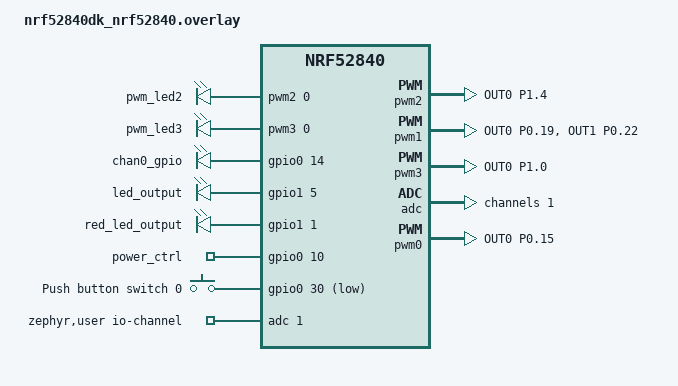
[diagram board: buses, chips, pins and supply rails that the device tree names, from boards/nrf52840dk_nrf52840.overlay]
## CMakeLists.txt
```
cmake_minimum_required(VERSION 3.20.0)
find_package(Zephyr REQUIRED HINTS $ENV{ZEPHYR_BASE})

project(mpu6050_ems)

FILE(GLOB app_sources 
    src/*.c
    src/utilities/*.c
    src/utilities/libpqueue/src/*.c
    src/utilities/circularbuffer/*.c
)

target_sources(app PRIVATE ${app_sources})
```

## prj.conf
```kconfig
# #Enabling bootloader
# CONFIG_BOOTLOADER_MCUBOOT=y

# CONFIG_MCUMGR=y
# CONFIG_MCUMGR_TRANSPORT_UART=y
# CONFIG_MCUMGR_GRP_IMG=y


CONFIG_LOG=n

CONFIG_NCS_SAMPLE_MCUMGR_BT_OTA_DFU=y

# Needed for math.h
CONFIG_NEWLIB_LIBC=y
CONFIG_CBPRINTF_FP_SUPPORT=y

# Enable GPIO/PWM
CONFIG_PWM=y
CONFIG_NRFX_TIMER1=y

# # Enable the Bluetooth mcumgr transport (unauthenticated).
# CONFIG_MCUMGR_TRANSPORT_BT=y
# CONFIG_MCUMGR_TRANSPORT_BT_AUTHEN=n
# CONFIG_MCUMGR_TRANSPORT_BT_CONN_PARAM_CONTROL=y

#Enable BLE
CONFIG_BT=y
CONFIG_BT_PERIPHERAL=y
CONFIG_BT_DEVICE_NAME="InnerGize Gen 1"
# Enable Security Management Protocol
CONFIG_BT_SMP=y

# STEP 1.1 Add setting configurations to allow flash handling
CONFIG_BT_SETTINGS=y
CONFIG_FLASH=y
CONFIG_FLASH_PAGE_LAYOUT=y
CONFIG_FLASH_MAP=y
CONFIG_NVS=y
CONFIG_SETTINGS=y
CONFIG_NRFX_TEMP=y

CONFIG_BT_DIS=y

CONFIG_LED=y
CONFIG_LED_PWM=y

# Enable the BMS service
CONFIG_BT_BMS=y

# STEP 3.1 Enable support for Accept List filter and Privacy Features
CONFIG_BT_FILTER_ACCEPT_LIST=y
CONFIG_BT_PRIVACY=y
CONFIG_BT_GAP_AUTO_UPDATE_CONN_PARAMS=y
CONFIG_BT_USER_PHY_UPDATE=y
CONFIG_BT_CTLR_PHY_CODED=y
CONFIG_BT_PHY_UPDATE=y
CONFIG_BT_CTLR_TX_PWR_PLUS_8=y

CONFIG_PM=y
CONFIG_PM_DEVICE=y
CONFIG_RAM_POWER_DOWN_LIBRARY=y
CONFIG_PM_DEVICE_RUNTIME=y


# STEP 4.1 Increase the number of maximum paired devices
CONFIG_BT_MAX_PAIRED=100

CONFIG_MULTITHREADING=y
#ADC 
CONFIG_ADC=y
CONFIG_NRFX_SAADC=y

# Allow for large Bluetooth data packets.
# CONFIG_BT_L2CAP_TX_MTU=498
# CONFIG_BT_BUF_ACL_RX_SIZE=502
# CONFIG_BT_BUF_ACL_TX_SIZE=502
# CONFIG_BT_CTLR_DATA_LENGTH_MAX=251
# Enable the mcumgr Packet Reassembly feature over Bluetooth and its configuration dependencies.
# MCUmgr buffer size is optimized to fit one SMP packet divided into five Bluetooth Write Commands,
# transmitted with the maximum possible MTU value: 498 bytes.
CONFIG_MCUMGR_TRANSPORT_BT_REASSEMBLY=y
CONFIG_MCUMGR_TRANSPORT_NETBUF_SIZE=2475
CONFIG_MCUMGR_GRP_OS_MCUMGR_PARAMS=y

CONFIG_NEWLIB_LIBC_MIN_REQUIRED_HEAP_SIZE=2048
```

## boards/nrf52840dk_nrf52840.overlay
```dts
/* STEP 1.2 -  Add a pwm_led instance and change the polarity */
/{
    pwmleds {
        compatible = "pwm-leds";
        pwm_led2: pwm_led_2 {
            pwms = <&pwm2 0 PWM_MSEC(20) PWM_POLARITY_NORMAL>;
        };

        pwm_led3: pwm_led_3 {
            pwms = <&pwm3 0 PWM_MSEC(20) PWM_POLARITY_NORMAL>;
        };
    };
};

/* STEP 1.3 - Add your own custom pwm0 instance */

&pwm2 {
    status = "okay";
    pinctrl-0 = <&pwm2_custom>;
    pinctrl-1 = <&pwm2_csleep>;
    pinctrl-names = "default", "sleep";
};

&pwm1 {
    status = "okay";
    pinctrl-0 = <&pwm3_custom>;
    pinctrl-1 = <&pwm3_csleep>;
    pinctrl-names = "default", "sleep";
};

&pwm3 {
    status = "okay";
    pinctrl-0 = <&pwm3_custom>;
    pinctrl-1 = <&pwm3_csleep>;
    pinctrl-names = "default", "sleep";
};
/* STEP 1.4 - Configure which pins your custom pwm0 instance should use */
&pinctrl {
    pwm2_custom: pwm2_custom {
        group1 {
            psels = <NRF_PSEL(PWM_OUT0, 1, 4)>;
            nordic,invert;
        };
    };

    pwm2_csleep: pwm2_csleep {
        group1 {
            psels = <NRF_PSEL(PWM_OUT0, 1, 4)>;
            low-power-enable;
        };
    };


    pwm3_custom: pwm3_custom {
        group1 {
            psels = <NRF_PSEL(PWM_OUT0, 1, 0)>;
            nordic,invert;
        };
    };

    pwm3_csleep: pwm3_csleep {
        group1 {
            psels = <NRF_PSEL(PWM_OUT0, 1, 0)>;
            low-power-enable;
        };
    };


};

/* STEP 5.2 - Add the servo device  */

/{
    gpio_outputs{
        compatible = "gpio-leds";
        // Channel 0 GPIO pin
        chan0_gpio: chan0_gpio{
            gpios = < &gpio0 14 GPIO_ACTIVE_HIGH >;
        };
        led_output: led_output{
            gpios = <&gpio1 5 GPIO_PULL_DOWN>;
        };
        red_led_output: red_led_output{
            gpios = <&gpio1 1 GPIO_PULL_DOWN>;
        };
        power_ctrl: power_ctrl{
            gpios = < &gpio0 10 GPIO_ACTIVE_HIGH >;
        };
    };

    buttons{
        compatible = "gpio-keys";
        button0: button_0 {
			gpios = <&gpio0 30 (GPIO_PULL_UP | GPIO_ACTIVE_LOW)>;
			label = "Push button switch 0";
		};
    };

	zephyr,user {
		io-channels = <&adc 1>; // Channel 0
        
        
	};

    aliases{
        ems-chan0-gpio = &chan0_gpio;
        led-out = &led_output;
        red-led = &red_led_output;
        sw0 = &button0;
        pwm-led2 = &pwm_led2;
		pwm-led3 = &pwm_led3;
    };
};




&adc {
	status = "okay";

	#address-cells = <1>;
	#size-cells = <0>;

	channel@1{
		reg = < 1 >;
		zephyr,reference = "ADC_REF_INTERNAL";
		zephyr,gain = "ADC_GAIN_1_4";// Internal ref is 0.6, gain of 1/6 means max voltage to be measured at AIN pin is 3.6V
		zephyr,acquisition-time = <ADC_ACQ_TIME(ADC_ACQ_TIME_MICROSECONDS,40)>;
		zephyr,input-positive = < NRF_SAADC_AIN1 >; // Adjust to correct pin
		zephyr,resolution = < 12 >; // 10 Bit resolution
	};

};

// Disable to avoid pin conflicts
&qspi {
    status = "disabled";
};

&spi3 {
    status = "disabled";
};

&spi1 {
    status = "disabled";
};


// Disable to avoid pin conflicts
&uart0 {
    status = "disabled";
};


&pwm0 {
    status = "okay";    
    pinctrl-0 = <&ems_chan1_pins>;
    pinctrl-1 = <&ems_chan1_pins_lp>;
    pinctrl-names = "default", "sleep";
};

&pwm1 {
    status = "okay";    
    pinctrl-0 = <&ems_chan23_pins>;
    pinctrl-1 = <&ems_chan23_pins_lp>;
    pinctrl-names = "default", "sleep";
};

// Pin definitions for PWM controller and I2C
&pinctrl {
    // PWM pins defined for compatibility purposes, update pin definitions in ems_pwm.c
    ems_chan1_pins: ems_pins{
        group1{
            psels = <NRF_PSEL(PWM_OUT0, 0, 15)>;
        };
    };

    ems_chan1_pins_lp: ems_pins_lp{
        group1{
            psels = <NRF_PSEL(PWM_OUT0, 0, 15)>;
        };
        low-power-enable;
    };

    ems_chan23_pins: ems_23_pins{
        group1{
            psels = <NRF_PSEL(PWM_OUT0, 0, 19)>, <NRF_PSEL(PWM_OUT1, 0, 22)>;
        };
    };

    ems_chan23_pins_lp: ems_23_pins_lp{
        group1{
            psels = <NRF_PSEL(PWM_OUT0, 0, 19)>, <NRF_PSEL(PWM_OUT1, 0, 22)>;
        };
        low-power-enable;
    };

	
};
```

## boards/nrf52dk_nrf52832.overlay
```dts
/{
    gpio_outputs{
        compatible = "gpio-leds";
        // Channel 0 GPIO pin
        chan0_gpio: chan0_gpio{
            gpios = < &gpio0 4 GPIO_ACTIVE_HIGH >;
        };
        led_output: led_output{
            gpios = < &gpio0 18 GPIO_ACTIVE_HIGH >;
        };
        power_ctrl: power_ctrl{
            gpios = < &gpio0 17 GPIO_ACTIVE_HIGH >;
        };
    };

    buttons{
        compatible = "gpio-keys";
        on_button: on_button{
            gpios = < &gpio0 14 (GPIO_ACTIVE_LOW | GPIO_PULL_UP | GPIO_OPEN_DRAIN) >;
        };
    };

	zephyr,user {
		io-channels = <&adc 0>; // Channel 0	
	};

    aliases{
        ems-chan0-gpio = &chan0_gpio;
        accel-sensor = &mpu6050;
        power-ctrl = &power_ctrl;
        led-out = &led_output;
        on-button = &on_button;
    };
};

&i2c0 {
    status = "okay";
    pinctrl-0 = < &mpu6050_default >;
    pinctrl-1 = < &mpu6050_sleep >;

    mpu6050:mpu6050@68 {
        compatible = "invensense,mpu6050";
        status = "okay";
        reg = < 0x68 >;
        int-gpios = < &gpio0 19 GPIO_ACTIVE_LOW >;
    };
};

&adc {
	status = "okay";

	#address-cells = <1>;
	#size-cells = <0>;

	channel@1{
		reg = < 1 >;
		zephyr,reference = "ADC_REF_INTERNAL";
		zephyr,gain = "ADC_GAIN_1_6";// Internal ref is 0.6, gain of 1/6 means max voltage to be measured at AIN pin is 3.6V
		zephyr,acquisition-time = < ADC_ACQ_TIME(ADC_ACQ_TIME_MICROSECONDS, 10) >;
		zephyr,input-positive = < NRF_SAADC_AIN0 >; // Adjust to correct pin
		zephyr,resolution = < 10 >; // 10 Bit resolution
	};
};

&spi1 {
    status = "disabled";
};


// Disable to avoid pin conflicts
&uart0 {
    status = "disabled";
};


&pwm0 {
    status = "okay";    
    pinctrl-0 = <&ems_chan1_pins>;
    pinctrl-1 = <&ems_chan1_pins_lp>;
    pinctrl-names = "default", "sleep";
};

&pwm1 {
    status = "okay";    
    pinctrl-0 = <&ems_chan23_pins>;
    pinctrl-1 = <&ems_chan23_pins_lp>;
    pinctrl-names = "default", "sleep";
};

// Pin definitions for PWM controller and I2C
&pinctrl {
    // PWM pins defined for compatibility purposes, update pin definitions in ems_pwm.c
    ems_chan1_pins: ems_pins{
        group1{
            psels = <NRF_PSEL(PWM_OUT0, 0, 5)>;
        };
    };

    ems_chan1_pins_lp: ems_pins_lp{
        group1{
            psels = <NRF_PSEL(PWM_OUT0, 0, 5)>;
        };
        low-power-enable;
    };

    ems_chan23_pins: ems_23_pins{
        group1{
            psels = <NRF_PSEL(PWM_OUT0, 0, 6)>, <NRF_PSEL(PWM_OUT1, 0, 7)>;
        };
    };

    ems_chan23_pins_lp: ems_23_pins_lp{
        group1{
            psels = <NRF_PSEL(PWM_OUT0, 0, 6)>, <NRF_PSEL(PWM_OUT1, 0, 7)>;
        };
        low-power-enable;
    };

	mpu6050_default: mpu6050_default {
		group1 {
			psels = <NRF_PSEL(TWIM_SDA, 0, 20)>,
				<NRF_PSEL(TWIM_SCL, 0, 21)>;
		};
	};

	mpu6050_sleep: mpu6050_sleep {
		group1 {
			psels = <NRF_PSEL(TWIM_SDA, 0, 20)>,
				<NRF_PSEL(TWIM_SCL, 0, 21)>;
			low-power-enable;
		};
	};
};
```

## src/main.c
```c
#include <zephyr/kernel.h>
#include <zephyr/logging/log.h>
#include <zephyr/drivers/gpio.h>
#include <zephyr/drivers/pwm.h>
#include <hal/nrf_gpio.h>
#include <zephyr/drivers/adc.h>
#include <zephyr/pm/pm.h>

#include "main.h"
#include "ems_pwm.h"
#include "app_io.h"

LOG_MODULE_REGISTER(MAIN, LOG_LEVEL_DBG);

#define BLE_CONNECTION_STATE_NO_CONNECTION   -1
#define BLE_CONNECTION_STATE_DISCONNECTED     0
#define BLE_CONNECTION_STATE_CONNECTED        1
#define NUM_STEPS                             50U
#define SLEEP_MSEC                            25U
#define SLEEP_TIME_MS                         1000
#define ADC_CHANNEL_1                         1
#define LED_OUT_NODE1                         DT_ALIAS(led_out)
#define GPIO_PIN                              NRF_GPIO_PIN_MAP(0, 5)
#define GPIO_PIN1                             NRF_GPIO_PIN_MAP(0, 25)
#define DEFAULT_SESSION_TIME_SECONDS          1200

#if !DT_NODE_EXISTS(DT_PATH(zephyr_user)) || \
    !DT_NODE_HAS_PROP(DT_PATH(zephyr_user), io_channels)
#error "No suitable devicetree overlay specified"
#endif

#define DT_SPEC_AND_COMMA(node_id, prop, idx) \
    ADC_DT_SPEC_GET_BY_IDX(node_id, idx),

// Get the ADC channels from the devicetree
const struct adc_dt_spec adc_channels[] = {
    DT_FOREACH_PROP_ELEM(DT_PATH(zephyr_user), io_channels,
    DT_SPEC_AND_COMMA)
};

static void session_timer_exp_cb(struct k_timer *timer);

static void adjust_pwm_timer_exp_cb(struct k_timer *timer);

uint32_t standby_counter;
volatile bool ems_session_running = false;
bool in_standby = false;
static int increment;

int8_t ble_connection_state = BLE_CONNECTION_STATE_NO_CONNECTION;

extern struct k_msgq ble_msgq;

struct main_msg_data data;

struct ble_msg *temp_msg = &data.data.ble;

K_MSGQ_DEFINE(main_msgq, sizeof(struct main_msg_data), 5, 4);

K_TIMER_DEFINE(session_timer, session_timer_exp_cb, NULL); // Timer for the session timer callback
K_TIMER_DEFINE(adjust_pwm_timer, adjust_pwm_timer_exp_cb, NULL);

struct gpio_dt_spec led_spec1 = GPIO_DT_SPEC_GET(LED_OUT_NODE1, gpios);

// Struct for storing the EMS parameters like on-time, off-time, duty cycle, etc.
struct ems_def current_ems = {
    .status = {
        .control = 0,
        .session = {0},
    },
    .channels = {
        .chan0 = {.on_time = 450, .off_time = 1910},
        .chan1 = {.on_time = (6.25 * NSEC_PER_USEC), .interval = (50 * USEC_PER_MSEC)},
        .chan2 = {.duty_cycle = 50},
        .chan3 = {.duty_cycle = 50}
    }
};

// Function to update the BLE message queue
static void update_ble(struct ble_msg *msg) {
    k_msgq_put(&ble_msgq, msg, K_NO_WAIT);
}

// Function to update the EMS parameters
static void update_ems_params(const struct pwm_channel_data *pwm_data) {
    ems_pwm_update_params(0, pwm_data->chan0.on_time * NSEC_PER_MSEC, pwm_data->chan0.off_time * NSEC_PER_MSEC, 0);
    memcpy(&current_ems.channels.chan0, &pwm_data->chan0, sizeof(current_ems.channels.chan0));

    ems_pwm_update_params(1, pwm_data->chan1.on_time, 0, pwm_data->chan1.interval * NSEC_PER_USEC);
    memcpy(&current_ems.channels.chan1, &pwm_data->chan1, sizeof(current_ems.channels.chan1));

    ems_pwm_update_params(2, pwm_data->chan2.duty_cycle, 0, 0);
    memcpy(&current_ems.channels.chan2, &pwm_data->chan2, sizeof(current_ems.channels.chan2));

    ems_pwm_update_params(2, pwm_data->chan3.duty_cycle, 0, 0);
    memcpy(&current_ems.channels.chan3, &pwm_data->chan3, sizeof(current_ems.channels.chan3));
}
// Timer function to turn off the EMS after the user-specified time
static void session_timer_exp_cb(struct k_timer *timer) {
    struct ble_msg control_session_msg = {0};
    if (disconnect_reason == 19) { // If user disconnected the device manually, then stop the EMS
        current_ems.status.session.current_session_len = 0;
        current_ems.status.control = 0;
        LOG_INF("EMS disabled");
        ems_pwm_toggle(0);
        ems_session_running = false;
        LOG_DBG("Function called to stop EMS");
        disconnect_reason = 0;
    }

    if (current_ems.status.control == 1) {
        current_ems.status.session.current_session_len++;
        LOG_DBG("EMS session %u, target %u", current_ems.status.session.current_session_len, current_ems.status.session.target_session_len);

        // If the session length is greater than the target session length, then turn off the EMS
        if ((current_ems.status.session.target_session_len > 0) &&
            (current_ems.status.session.current_session_len > current_ems.status.session.target_session_len)) {
            current_ems.status.control = 0;
            LOG_DBG("End EMS Session");
            stop_green_led_thread();
            start_green_led_thread(1000000);
            ems_session_running = false;
            ems_pwm_toggle(0);
        }
    }

    control_session_msg.id = BLE_MSG_ID_EMS_CONTROL;
    memcpy(&control_session_msg.data.ems, &current_ems, sizeof(current_ems)); // Copy the EMS parameters to the BLE message
    update_ble(&control_session_msg); // Update the BLE message queue

    //IF THE DEVICE IS NOT CONNECTED THEN INCREMENT THE STANDBY COUNTER
    if(ble_connection_state != BLE_CONNECTION_STATE_CONNECTED){
        standby_counter++;
            //LOG_INF("STANDBY %u", standby_counter);
    }
    //PUTS DEVICE TO SLEEP IF NO DEVICE CONNECTED FOR 5 MINUTES
     if(ble_connection_state != BLE_CONNECTION_STATE_CONNECTED && standby_counter > 300 && ems_session_running == false ){
    
            LOG_INF("Enter standby mode");
            nrf_gpio_pin_clear(GPIO_PIN);
            nrf_gpio_pin_clear(GPIO_PIN1);
    
    }
}


static int on_time_func() {
    if (temp_msg->data.ems.status.ontime - ems_intensity_data.PWM_ON_TIME <= 10) {
        return 1;
    } else if (temp_msg->data.ems.status.ontime - ems_intensity_data.PWM_ON_TIME > 10 && temp_msg->data.ems.status.ontime - ems_intensity_data.PWM_ON_TIME <= 25) {
        return 3;
    } else if (temp_msg->data.ems.status.ontime - ems_intensity_data.PWM_ON_TIME > 25) {
        return 5;
    }
}
// Function to gradually change the PWM_ON_TIME
static void adjust_pwm_on_time() {
    LOG_INF("BLE stack value %u", temp_msg->data.ems.status.ontime);
    LOG_INF("on time stack value %u", ems_intensity_data.PWM_ON_TIME);
    if (increment == 0) {
        increment = on_time_func();
    }
    ems_intensity_data.PWM_ON_TIME += increment;

    if (ems_intensity_data.PWM_ON_TIME >= temp_msg->data.ems.status.ontime) {
        increment = 0;
        k_timer_stop(&adjust_pwm_timer);
        ems_intensity_data.PWM_ON_TIME = temp_msg->data.ems.status.ontime;
    }

    if (ems_intensity_data.PWM_ON_TIME > 100) {
        ems_intensity_data.PWM_ON_TIME = 100; // Cap the PWM_ON_TIME at 100
    }
    // Update the PWM on-time for channel 1
    ems_pwm_update_params(1, PWM_USEC(ems_intensity_data.PWM_ON_TIME), 0, current_ems.channels.chan1.interval * NSEC_PER_USEC);
}

// Timer function to adjust PWM_ON_TIME every 20 seconds
static void adjust_pwm_timer_exp_cb(struct k_timer *timer) {
    adjust_pwm_on_time();
}

// Function to turn EMS on and off
static void ems_control_cmd_handle(uint8_t control) {
    if (control) {
        // Enable EMS
        initial_value = batt_val_mv;
        current_ems.status.session.current_session_len = 0;
        current_ems.status.control = 1;
        ems_pwm_toggle(1);
        stop_green_led_thread();
        start_green_led_thread(10000);
        LOG_INF("EMS enabled");
        current_ems.status.session.target_session_len = DEFAULT_SESSION_TIME_SECONDS; // Turn off EMS automatically after 20 minutes
        ems_session_running = true;
    } 
    else {
        current_ems.status.session.current_session_len = 0;
        current_ems.status.control = 0;
        LOG_INF("EMS disabled");
        ems_pwm_toggle(0);
        stop_green_led_thread();
        start_green_led_thread(1000000);
        ems_session_running = false;
    }
}

// Function to update the EMS parameters included in the EMS service 
static void ems_chan_cmd_handle(uint8_t channel, struct pwm_channel_data *chan_data) {
    switch (channel) {
        case BLE_MSG_ID_EMS_CHAN1_CONTROL: {
            ems_pwm_update_params(0, chan_data->chan0.on_time * NSEC_PER_MSEC, chan_data->chan0.off_time * NSEC_PER_MSEC, 0);
            memcpy(&current_ems.channels.chan0, &chan_data->chan0, sizeof(current_ems.channels.chan0));
            LOG_DBG("Chan0 update on_time: %u, off_time: %u", current_ems.channels.chan0.on_time, current_ems.channels.chan0.off_time);
            break;
        }
        case BLE_MSG_ID_EMS_CHAN2_CONTROL: {
            ems_pwm_update_params(1, chan_data->chan1.on_time, 0, chan_data->chan1.interval * NSEC_PER_USEC);
            memcpy(&current_ems.channels.chan1, &chan_data->chan1, sizeof(current_ems.channels.chan1));
            LOG_DBG("Chan1 update on_time: %u, interval: %u", current_ems.channels.chan1.on_time, current_ems.channels.chan1.interval);
            break;
        }
        case BLE_MSG_ID_EMS_CHAN3_CONTROL: {
            ems_pwm_update_params(2, chan_data->chan2.duty_cycle, 0, 0);
            memcpy(&current_ems.channels.chan2, &chan_data->chan2, sizeof(current_ems.channels.chan2));
            LOG_DBG("Chan2 update duty_cycle: %d", current_ems.channels.chan2.duty_cycle);
            break;
        }
        case BLE_MSG_ID_EMS_CHAN4_CONTROL: {
            ems_pwm_update_params(3, chan_data->chan3.duty_cycle, 0, 0);
            memcpy(&current_ems.channels.chan3, &chan_data->chan3, sizeof(current_ems.channels.chan3));
            LOG_DBG("Chan3 update duty_cycle: %d", current_ems.channels.chan3.duty_cycle);
            break;
        }
        default: {
            break;
        }
    }
}

int main(void) {
    nrf_gpio_cfg_output(GPIO_PIN);
    nrf_gpio_cfg_output(GPIO_PIN1);

    nrf_gpio_pin_set(GPIO_PIN);
    nrf_gpio_pin_set(GPIO_PIN1);

    //LOG_INF("VALUE OF TEMP SENSOR %f",read_cpu_temp_sensor());
    ems_pwm_init(); // Initializes the PWM

    k_timer_start(&session_timer, K_SECONDS(1), K_SECONDS(1)); // Starts the timer

    while (1) {
        
        k_msgq_get(&main_msgq, &data, K_FOREVER);

        // If the data source is BLE, then handle the BLE messages
        if (data.src == MAIN_MSG_DATA_SRC_BLE) {
            // Switch case to handle the BLE messages
            switch (temp_msg->id) {
                case BLE_MSG_ID_EMS_CONTROL: {
                    if(temp_msg->data.ems.status.control == 1){
                        RelaxMode();
                    }
                    else if(temp_msg->data.ems.status.control == 2){
                        SleepMode();
                    }
                    else if(temp_msg->data.ems.status.control == 3){
                        BreathMode();
                    }
                    ems_control_cmd_handle(temp_msg->data.ems.status.control);
                    LOG_INF("EMS control CALLED");
                    break;
                }
                case BLE_MSG_ID_EMS_SESSION: {
                    current_ems.status.session.current_session_len = 0;
                    current_ems.status.session.target_session_len = temp_msg->data.ems.status.session.target_session_len; // uint32 big endian
                    break;
                }
                case BLE_MSG_ID_PWM_PERIOD: {
                    ems_intensity_data.PWM_PERIOD = temp_msg->data.ems.status.period;
                    break;
                }
                case BLE_MSG_ID_PWM_ONTIME: {
                    // Start the timer to adjust PWM_ON_TIME every 20 seconds
                    k_timer_start(&adjust_pwm_timer, K_SECONDS(2), K_SECONDS(2));
                    break;
                }
                case BLE_MSG_ID_PWM_INTERVAL: {
                    ems_intensity_data.PWM_INTERVAL = temp_msg->data.ems.status.interval;
                    break;
                }
                case BLE_MSG_ID_PWM_DURATION: {
                    ems_intensity_data.PWM_DURATION = temp_msg->data.ems.status.duration;
                    break;
                }
                case BLE_MSG_ID_CHAN0_PLAYBACK_COUNT: {
                    ems_intensity_data.CHAN0_PLAYBACK = temp_msg->data.ems.status.chan0playback;


                    break;
                }
                case BLE_MSG_ID_CHAN0_INUCT_DURATION: {
                    ems_intensity_data.CHAN0_INDUCTOR = temp_msg->data.ems.status.chan0inductor;

                    break;
                }
                 case BLE_MSG_ID_CHAN0_ON_DURATION: {
                    ems_intensity_data.CHAN0_DURATION = temp_msg->data.ems.status.chan0ontime;
                  chan0_para_update();

                    break;
                }
                case BLE_MSG_ID_CHAN0_DURATION: {
                    ems_intensity_data.CHAN0_ON_DURATION = temp_msg->data.ems.status.chan0time;
                    chan0_para_update();
                    break;
                }
                case BLE_MSG_ID_CHAN23_PWM_PERIOD_NS: {
                    ems_intensity_data.PWM23_DURATION = 25*(temp_msg->data.ems.status.pwm23time);
                    //CHAN23_PWM_DEFAULT_PERIOD_NS = temp_msg->data.ems.status.pwm23time;
                    LOG_INF("VALUE OF CHAN 23 IN BLE STACK  %u", temp_msg->data.ems.status.pwm23time );
                    LOG_INF("VALUE OF CHAN 23 %u", ems_intensity_data.PWM23_DURATION );
                    //chan23reset();

                    break;
                }
                case BLE_MSG_ID_CHAN23_PWM_ON_TIME_NS: {
                    ems_intensity_data.PWM23_ON_DURATION = 25*(temp_msg->data.ems.status.pwm23ontime);
                    //CHAN23_PWM_DEFAULT_ON_TIME_NS= temp_msg->data.ems.status.pwm23ontime;
                    LOG_INF("VALUE OF CHAN 23ONM in ble stack %u", temp_msg->data.ems.status.pwm23ontime);
                    LOG_INF("VALUE OF CHAN 23ON %u", ems_intensity_data.PWM23_ON_DURATION );
                    chan23reset();
                    break;
                }
                case BLE_MSG_ID_CHARGER_ON_OFF: {
                    if(temp_msg->data.ems.status.chargeronoff == 5)
                    {
                         nrf_gpio_pin_clear(GPIO_PIN);
                         nrf_gpio_pin_clear(GPIO_PIN1);
                    }
                    break;
                }
                case BLE_MSG_ID_EMS_CHAN1_CONTROL:
                case BLE_MSG_ID_EMS_CHAN2_CONTROL:
                case BLE_MSG_ID_EMS_CHAN3_CONTROL:
                case BLE_MSG_ID_EMS_CHAN4_CONTROL: {
                    ems_chan_cmd_handle(temp_msg->id, &temp_msg->data.ems.channels);
                    break;
                }
                case BLE_MSG_ID_CONNECTED: {
                    ble_connection_state = BLE_CONNECTION_STATE_CONNECTED;
                    standby_counter = 0;
                    break;
                }
                case BLE_MSG_ID_DISCONNECTED: {
                    ble_connection_state = BLE_CONNECTION_STATE_DISCONNECTED;
                    standby_counter = 0;
                    LOG_DBG("BLE disconnected");
                    k_timer_stop(&adjust_pwm_timer);
                    break;
                }
                default: {
                    break;
                }
            }
        }
    }
    return 0;
}
```

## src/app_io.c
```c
#include "app_io.h"
#include "ble.h"
#include "main.h"
#include "ems_pwm.h"

#include <zephyr/drivers/pwm.h>
#include <zephyr/kernel.h>
#include <zephyr/drivers/gpio.h>
#include <zephyr/drivers/adc.h>
#include <zephyr/logging/log.h>
#include <zephyr/sys/reboot.h>
#include <hal/nrf_gpio.h>
#include <zephyr/pm/device.h>
#include <zephyr/pm/pm.h>
#include <zephyr/pm/policy.h>
#include <zephyr/pm/device_runtime.h>
#include <zephyr/bluetooth/bluetooth.h>
#include <zephyr/bluetooth/gatt.h>
#include <zephyr/bluetooth/uuid.h>
#include <zephyr/bluetooth/conn.h>
#include <zephyr/bluetooth/gap.h>
#include <zephyr/bluetooth/hci.h>

LOG_MODULE_REGISTER(APP_IO, LOG_LEVEL_DBG);

#define LED_OUT_NODE                    DT_ALIAS(led_out)        // LED node
#define SW0_NODE	                    DT_ALIAS(sw0)           // Button node
#define RED_LED_OUT_NODE                DT_ALIAS(red_led)        // red LED node

#define GPIO_PIN                        NRF_GPIO_PIN_MAP(0, 5)
#define GPIO_PIN1                       NRF_GPIO_PIN_MAP(0, 25)

#define STACK_SIZE                            512
#define MY_STACK_SIZE                         500
#define THREAD_PRIORITY                       4

#define PWM_LED0        DT_ALIAS(pwm_led2)
#define PWM_LED1        DT_ALIAS(pwm_led3)

#define PWM_PERIOD   PWM_MSEC(60)

#define PWM_MIN_DUTY_CYCLE 20000000
#define PWM_MAX_DUTY_CYCLE 50000000

#define ADC_THRESHOLD                   70  // Threshold for waking up based on ADC value difference
#define ARRAY_SIZE                      10   // Size of the ADC value array

#define SLEEP_DURATION_MS               5000 // Duration of sleep in milliseconds

#define TIME_WINDOW_MS     10000  // 10-second time window

#if !DT_NODE_HAS_STATUS(SW0_NODE, okay)
#error "Unsupported board: sw0 devicetree alias is not defined"
#endif

// ADC spec macro
#define DT_SPEC_AND_COMMA(node_id, prop, idx) \
	ADC_DT_SPEC_GET_BY_IDX(node_id, idx),

static const struct pwm_dt_spec pwm_led0 = PWM_DT_SPEC_GET(PWM_LED0);
static const struct pwm_dt_spec pwm_led1 = PWM_DT_SPEC_GET(PWM_LED1);

struct gpio_dt_spec red_led_spec = GPIO_DT_SPEC_GET(RED_LED_OUT_NODE, gpios); // Red LED spec

extern struct k_msgq ble_msgq;  // BLE message queue

// Define the thread stack
K_THREAD_STACK_DEFINE(dyn_thread_stack_1, MY_STACK_SIZE);
// Define the thread control block
struct k_thread my_thread_data_1;

/* Define the timer object */
static struct k_timer my_timer;

static struct gpio_callback button_cb_data;

static const struct gpio_dt_spec button = GPIO_DT_SPEC_GET_OR(SW0_NODE, gpios, {0}); // Button spec

// ADC channels
static const struct adc_dt_spec adc_channels[] = {
	DT_FOREACH_PROP_ELEM(DT_PATH(zephyr_user), io_channels, DT_SPEC_AND_COMMA)
};

// Thread definitions
#define LED_BLINK_THREAD_STACK_SIZE 1024
#define LED_BLINK_THREAD_PRIORITY 5

K_THREAD_STACK_DEFINE(blue_led_stack_area, LED_BLINK_THREAD_STACK_SIZE);
K_THREAD_STACK_DEFINE(green_led_stack_area, LED_BLINK_THREAD_STACK_SIZE);

struct k_thread blue_led_thread_data;
struct k_thread green_led_thread_data;

// Shared data for controlling threads
static uint32_t pwm_period_blue = 1000000; // Default period for blue LED
static uint32_t pwm_period_green = 1000000;   // Default period for green LED

static bool blue_led_thread_running = false;
static bool green_led_thread_running = false;

// Mutexes to protect access to shared variables
static struct k_mutex blue_period_mutex;
static struct k_mutex green_period_mutex;

#define MIN_DUTY_CYCLE 0
#define MAX_DUTY_CYCLE 10000 // Maximum duty cycle in nanoseconds, adjust as needed
#define STEP_SIZE 100 // Step size for duty cycle increment/decrement, adjust for smoothness
#define STEP_DELAY_MS 10 // Delay between steps in milliseconds, adjust for speed of breathing effect
#define SOLID_BRIGHT_PERIOD 10000 // Set period for solid bright     // Maximum duty cycle for full brightness
#define ZERO_DUTY_CYCLE 0           // Duty cycle for turning off the LED

// Function prototypes
void start_blue_led_thread(uint32_t period);
void stop_blue_led_thread(void);
void start_green_led_thread(uint32_t period);
void stop_green_led_thread(void);

uint32_t btn_hold_counter = 0;
uint32_t ems_on = 0;
uint16_t raw_batt_val = 0;
int32_t batt_val_mv = 0;
int32_t initial_value = 0;
int32_t current_value = 0;
int32_t final_value = 0;
int charging_threshold;  // Charging threshold will be dynamically set
uint8_t charger_state = 0;   // Initialize the charger state
uint8_t battery_low = 0; 
uint16_t buf;
k_tid_t my_tid;
uint8_t sleep_flag =0;
static int64_t start_time;
const k_tid_t red_led_thread; // LED thread

static int charge_count=0;
static int charge_count1=0;
static int charge=0;
static int discharge=0;

// ADC value array for storing readings
int adc_values_array[ARRAY_SIZE] = {0};
int adc_array_index = 0; // Index to keep track of the array position

volatile bool in_critical_section = false;

const k_tid_t led_thread; // LED thread

extern bool in_standby;

K_SEM_DEFINE(button_sem, 0, 1);

// Battery ADC sequence
struct adc_sequence batt_read_sequence = {
    .buffer = &raw_batt_val,
    .buffer_size = sizeof(raw_batt_val)
};

/* Callback function for the timer */
void timer_expiry_function(struct k_timer *timer_id)
{
    /* Optional: If you want to restart the process for another 30 seconds, restart the timer */
    k_timer_start(&my_timer, K_SECONDS(30), K_NO_WAIT);
}

// Button pressed callback function
void button_pressed(const struct device *dev, struct gpio_callback *cb, uint32_t pins) {

    k_sem_give(&button_sem);

	LOG_DBG("Button pressed at %" PRIu32 "\n", k_cycle_get_32());
}

// Battery read initialization function
static int batt_read_init() {
    int ret = 0;

    if (!device_is_ready(adc_channels[0].dev)) {
        return -ENODEV;
    }

    ret = adc_channel_setup_dt(&adc_channels[0]);
    if (ret) {
        return ret;
    }
      // Initialize ADC sequence
    ret = adc_sequence_init_dt(&adc_channels[0], &batt_read_sequence);
    if (ret) {
          return;
    }

    return 0;
}

static void battery_update()
{
    int ret = 0;

    // Read ADC value
    ret = adc_read(adc_channels[0].dev, &batt_read_sequence);
    if (ret) {
        return;
    }

    batt_val_mv = (int32_t)raw_batt_val;
    ret = adc_raw_to_millivolts_dt(&adc_channels[0], &batt_val_mv);
    if (ret) {
        return;
    }

    /* Read the current battery value */
    current_value = batt_val_mv;
    //LOG_INF("BATTURY VALUE %u",current_value);

    // Set charging thresholds based on batt_val_mv
   
        if (batt_val_mv >= 2000) {
            charging_threshold = 8;
        } else if (batt_val_mv >= 1500 && batt_val_mv < 2000) {
            charging_threshold = 10;
        } else {
            charging_threshold = 12;
        } 

        if(is_pwm_modes_enabled == false)
        {

            if(battery_update_ready)
            {
                k_sleep(K_MSEC(2000)); // Check battery every 2 seconds
                battery_update_ready = false;
            }


        if((final_value - current_value >= 8) && (discharge ==1)){

            charge_count = 0;
            charge_count1 = charge_count1 + 100;

    
            if(charge_count1 > 400)
            {
               // LOG_INF("Button held for more than 9 seconds, rebooting");
    
                // nrf_gpio_pin_clear(GPIO_PIN);
                // nrf_gpio_pin_clear(GPIO_PIN1);
                //gpio_pin_set_raw(red_led_spec.port, red_led_spec.pin, 1);
                charger_state = 0;
                discharge=0;
                
            }
            //charger_state = 0;
            //initial_value = current_value;

        } 
        else if (current_value - initial_value >= charging_threshold) {
            //printk("Value changed from %d to %d with batt_val_mv: %d\n", initial_value, current_value, batt_val_mv);
             // Set charger state to 1
            charge_count1 = 0;
            sleep_flag = 1;
            charge_count = charge_count + 100;

            if(charge_count > 400)

            {
               // LOG_INF("Button held for more than 9 seconds, rebooting");
    
                // nrf_gpio_pin_clear(GPIO_PIN);
                // nrf_gpio_pin_clear(GPIO_PIN1);
                //gpio_pin_set_raw(red_led_spec.port, red_led_spec.pin, 0);
                final_value = batt_val_mv;
                charger_state = 1; 
                discharge =1;
            }
            //gpio_pin_set_raw(red_led_spec.port, red_led_spec.pin, 0);

        }  
        else {
            initial_value = current_value;
           // charger_state = 0;
            charge_count1 = 0;
            charge_count = 0;
            //gpio_pin_set_raw(red_led_spec.port, red_led_spec.pin, 1);
           // printk("Restarting timer with initial value: %d\n", initial_value);
        }
    }
        
    }
    
static void batt_read_update() // Battery read update
{   
    while (1) {

        battery_update();

        struct ble_msg batt_msg = {
            .id = BLE_MSG_ID_BATT_UPDATE,
            .data.batt_mv = batt_val_mv
        };
        k_msgq_put(&ble_msgq, &batt_msg, K_NO_WAIT);
    
        k_sleep(K_MSEC(1000)); // Check battery every 2 seconds
    }
}

// blue LED blink function
int blue_led_blink(uint32_t period) {
    
    int err;
    uint32_t duty_cycle_ns__blue = MIN_DUTY_CYCLE;
    uint8_t dir_blue = 1; // Direction: 1 for increasing, 0 for decreasing

    if (!device_is_ready(pwm_led0.dev)) {
        LOG_ERR("PWM device %s is not ready", pwm_led0.dev->name);
        return -ENODEV;
    }

    while (1) {
        err = pwm_set_dt(&pwm_led0, period, duty_cycle_ns__blue);
    
        if (err) {
            LOG_ERR("pwm_set_dt returned %d", err);
            return err;
        }

        // Adjust the duty cycle to create the breathing effect
        if (dir_blue) {
    
            duty_cycle_ns__blue += STEP_SIZE;
    
            if (duty_cycle_ns__blue >= MAX_DUTY_CYCLE) {
                duty_cycle_ns__blue = MAX_DUTY_CYCLE;
                dir_blue = 0; // Switch to decreasing intensity
            }
        } 
        
        else {
            duty_cycle_ns__blue -= STEP_SIZE;
            if (duty_cycle_ns__blue <= MIN_DUTY_CYCLE) {
                duty_cycle_ns__blue = MIN_DUTY_CYCLE;
                dir_blue = 1; // Switch to increasing intensity
            }
        }

        k_msleep(STEP_DELAY_MS);
    }

    return 0;
}

// green LED blink function
int green_led_blink(uint32_t period) {
    int err;
    uint32_t duty_cycle_ns__green = MIN_DUTY_CYCLE;
    uint8_t dir_green = 1; // Direction: 1 for increasing, 0 for decreasing

    if (!device_is_ready(pwm_led1.dev)) {
        LOG_ERR("PWM device %s is not ready", pwm_led1.dev->name);
        return -ENODEV;
    }

    while (1) {
        err = pwm_set_dt(&pwm_led1, period, duty_cycle_ns__green);
        
        if (err) {
            LOG_ERR("pwm_set_dt returned %d", err);
            return err;
        }
        // Adjust the duty cycle to create the breathing effect
        if (dir_green) {
            duty_cycle_ns__green += STEP_SIZE;
            if (duty_cycle_ns__green >= MAX_DUTY_CYCLE) {
                duty_cycle_ns__green = MAX_DUTY_CYCLE;
                dir_green = 0; // Switch to decreasing intensity
            }
        } else {
            duty_cycle_ns__green -= STEP_SIZE;
            if (duty_cycle_ns__green <= MIN_DUTY_CYCLE) {
                duty_cycle_ns__green = MIN_DUTY_CYCLE;
                dir_green = 1; // Switch to increasing intensity
            }
        }

        k_msleep(STEP_DELAY_MS);
    }

    return 0;
}

// blue LED thread entry function
void blue_led_thread_entry(void *arg1, void *arg2, void *arg3) {
    
    uint32_t local_period;

    while (1) {
        // Lock mutex and get the current period
        k_mutex_lock(&blue_period_mutex, K_FOREVER);
        local_period = pwm_period_blue; // Copy the period value
        k_mutex_unlock(&blue_period_mutex);

        // Run the blue LED blink function with the current period
        int err = blue_led_blink(local_period);

        if (err) {
            LOG_ERR("blue LED blink error: %d", err);
            break; // Exit the thread on error
        }
    }
}

// green LED thread entry function
void green_led_thread_entry(void *arg1, void *arg2, void *arg3) {

    uint32_t local_period;

    while (1) {
        // Lock mutex and get the current period
        k_mutex_lock(&green_period_mutex, K_FOREVER);
        local_period = pwm_period_green; // Copy the period value
        k_mutex_unlock(&green_period_mutex);

        // Run the green LED blink function with the current period
        int err = green_led_blink(local_period);
        
        if (err) {
            LOG_ERR("green LED blink error: %d", err);
            break; // Exit the thread on error
        }
    }
}

// Function to start the blue LED thread
void start_blue_led_thread(uint32_t period) {
    
    k_mutex_lock(&blue_period_mutex, K_FOREVER);
    pwm_period_blue = period;
    k_mutex_unlock(&blue_period_mutex);

    if (!blue_led_thread_running) {
        k_thread_create(&blue_led_thread_data, blue_led_stack_area,
                        K_THREAD_STACK_SIZEOF(blue_led_stack_area),
                        blue_led_thread_entry,
                        NULL, NULL, NULL,
                        LED_BLINK_THREAD_PRIORITY, 0, K_NO_WAIT);
        blue_led_thread_running = true;
        printk("blue LED blink thread started with period: %d\n", period);
    }
}

// Function to stop the blue LED thread
void stop_blue_led_thread(void) {
    if (blue_led_thread_running) {
        k_thread_abort(&blue_led_thread_data);
        blue_led_thread_running = false;
        int err = pwm_set_dt(&pwm_led0, SOLID_BRIGHT_PERIOD, MAX_DUTY_CYCLE);// Set duty cycle to zero to turn off the LED
        printk("blue LED blink thread stopped.\n");
    }
}

// Function to start the green LED thread
void start_green_led_thread(uint32_t period) {
    
    k_mutex_lock(&green_period_mutex, K_FOREVER);
    pwm_period_green = period;
    k_mutex_unlock(&green_period_mutex);

    if (!green_led_thread_running) {
        k_thread_create(&green_led_thread_data, green_led_stack_area,
                        K_THREAD_STACK_SIZEOF(green_led_stack_area),
                        green_led_thread_entry,
                        NULL, NULL, NULL,
                        LED_BLINK_THREAD_PRIORITY, 0, K_NO_WAIT);
        green_led_thread_running = true;
        printk("green LED blink thread started with period: %d\n", period);
    }
}

// Function to stop the green LED thread
void stop_green_led_thread(void) {
    if (green_led_thread_running) {
        k_thread_abort(&green_led_thread_data);
        green_led_thread_running = false;
        int err = pwm_set_dt(&pwm_led1, SOLID_BRIGHT_PERIOD, MAX_DUTY_CYCLE);// Set duty cycle to zero to turn off the LED
        printk("green LED blink thread stopped.\n");
    }
}

// Red LED main function
static void red_led_main() {
    while (1) {
        gpio_pin_set_raw(red_led_spec.port, red_led_spec.pin, 0);
        k_sleep(K_MSEC(800));

        gpio_pin_set_raw(red_led_spec.port, red_led_spec.pin, 1);
        k_sleep(K_MSEC(800));
    }
}

void stop_red_led_thread(void){

    gpio_pin_set_raw(red_led_spec.port, red_led_spec.pin, 1);

}

void start_red_led_thread(void){

    gpio_pin_set_raw(red_led_spec.port, red_led_spec.pin, 0);

}



int input_main() {
    
    int err = 0;
    int ret;
    int val;
    int btn_hold_counter = 0;
    bool pattern_changed = false; // Flag to track if LED pattern is already changed
    const int hold_duration_threshold = 2000; // 2 seconds in milliseconds

    create_thread_from_function();

    // Initialize the timer
    k_timer_init(&my_timer, timer_expiry_function, NULL);
    k_timer_start(&my_timer, K_SECONDS(30), K_NO_WAIT);

    // Battery initialization
    if (batt_read_init()) {
        return 1;
    }
    // Button initialization
    if (!gpio_is_ready_dt(&button)) {
        LOG_DBG("Error: button device %s is not ready\n", button.port->name);
        return 0;
    }

    ret = gpio_pin_configure_dt(&button, GPIO_INPUT);
    
    if (ret) {
        LOG_DBG("Error %d: failed to configure %s pin %d\n", ret, button.port->name, button.pin);
        return 0;
    }

    ret = gpio_pin_interrupt_configure_dt(&button, GPIO_INT_EDGE_TO_ACTIVE);
    
    if (ret) {
        LOG_DBG("Error %d: failed to configure interrupt on %s pin %d\n", ret, button.port->name, button.pin);
        return 0;
    }

    // Button callback
    gpio_init_callback(&button_cb_data, button_pressed, BIT(button.pin));
    gpio_add_callback(button.port, &button_cb_data);

    k_sleep(K_MSEC(100));

    initial_value = batt_val_mv;
    printk("Initial value: %d\n", initial_value);

    // Initialize mutexes
    k_mutex_init(&blue_period_mutex);
    k_mutex_init(&green_period_mutex);

    start_blue_led_thread(1000000);
    start_green_led_thread(1000000);

    // Simulate some other operations
    k_sleep(K_SECONDS(1));

    // Main loop
    while (1) {
        // Check battery value
        if (batt_val_mv < 1600 ) {

            if(battery_low == 0){

            k_thread_start(my_tid);
            stop_blue_led_thread();
            stop_green_led_thread();
            battery_low=1;

            }
        }
        // Get button state
        val = gpio_pin_get_dt(&button);
        
        k_msleep(1);  // Sleep to avoid busy waiting

        // Button press handling
        if (val == 1) {
         
            btn_hold_counter++;  // Increment counter every ms while the button is held

            // If button has been held for more than 3 seconds, change the LED pattern
            if (btn_hold_counter >= hold_duration_threshold && !pattern_changed && pairing_on) {

                if(battery_low == 0){
                stop_blue_led_thread();// Rapid blinking twice
                stop_red_led_thread();
                stop_green_led_thread();
                start_blue_led_thread(10000);  // Change to blinking
                }
                
                LOG_INF("Button held for 3 seconds, changed to blinking");

                pattern_changed = true; // Set flag to indicate the pattern has changed
                
                if ((err = bt_le_adv_stop()) == 0) {
                LOG_INF("Advertising stopped successfully");
            }

            else {
                LOG_INF("Cannot stop advertising, err = %d", err);
            }

            if ((err = bt_le_whitelist_clear()) == 0) {
                LOG_INF("Accept list cleared successfully");

                ble_new_adv();

                if ((err = bt_le_adv_start(BT_LE_ADV_CONN_NAME, NULL, 0, NULL, 0)) == 0) {
                    LOG_INF("Advertising in pairing mode started");
                } else {
                    LOG_INF("Cannot start advertising, err = %d", err);
                }
            }

            else {
                LOG_INF("Cannot clear accept list, err = %d", err);
            }

            }

        }
        
        else {
            // Reset the counter and pattern_changed flag when the button is released
            btn_hold_counter = 0;
            pattern_changed = false;
        }

        // Handle longer button hold (e.g., reboot) if needed
        if (btn_hold_counter > 5000) {
            
            stop_blue_led_thread();
            stop_green_led_thread();
            stop_red_led_thread();

            LOG_INF("Button held for more than 9 seconds, rebooting");

            nrf_gpio_pin_clear(GPIO_PIN);
            nrf_gpio_pin_clear(GPIO_PIN1);

        }
    }

    return 0;  // Return success
}
void create_thread_from_function(void) {
    my_tid = k_thread_create(&my_thread_data_1, dyn_thread_stack_1,
                             K_THREAD_STACK_SIZEOF(dyn_thread_stack_1),
                             red_led_main,
                             NULL, NULL, NULL,
                             THREAD_PRIORITY, 0, K_FOREVER);
}
K_THREAD_DEFINE(input_thread, 1024, input_main, NULL, NULL, NULL, 2, K_ESSENTIAL, 0);
K_THREAD_DEFINE(batt_thread, 512, batt_read_update, NULL, NULL, NULL, 3, 0, 0);
//K_THREAD_DEFINE(charge_thread, 512, batt_monitor_timer, NULL, NULL, NULL, 4, 0, 0);
```

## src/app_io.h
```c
#ifndef APP_IO_H
#define APP_IO_H

#include <stdint.h>
#include <stdbool.h>

#define BTN_PRESSED     1
#define BTN_RELEASED    0


extern  int32_t initial_value;
extern  int32_t current_value;

extern int32_t batt_val_mv;

extern uint16_t raw_batt_val ;

extern uint8_t charger_state;

extern uint8_t battery_low;

void start_blue_led_thread(uint32_t period);

void stop_blue_led_thread(void);

void stop_red_led_thread(void);

void start_red_led_thread(void);
/**
 * @brief Power off, write p0.31 to 0
 * 
 */
#endif
```

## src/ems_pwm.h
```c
#ifndef EMS_PWM_H
#define EMS_PWM_H

#include <stdint.h>
#include <stdbool.h>
/**
 * @brief Initialise EMS timers and PWM params to default
 * 
 * @return 0 on success
 */
int ems_pwm_init();

/**
 * @brief toggle EMS on/off
 * 
 * @param state 0 for off, 1 for off
 */
void ems_pwm_toggle(int state);

/**
 * @brief update pwm parameters for the ems
 * 
 * @param chan_number channel number (0 and 1 supported)
 * @param on_time_ns on time in nanoseconds
 * @param duration_ns total duration of the PWM signal
 * @param interval_ns time between consecutive PWM signals
 * @return 0 in success
 */
int ems_pwm_update_params(uint8_t chan_number, uint64_t on_time_ns, uint64_t duration_ns, uint64_t interval_ns);

/**
 * @brief update duty cycle of the power signal(CHAN2)
 * 
 * @param duty_cycle duty cycle in percentage(0-100)
 */
void ems_pwm_update_power_signal_intensity(uint8_t duty_cycle);

void chan0_para_update();

void chan23update();

void chan23reset();

void RelaxMode();

void SleepMode();

void BreathMode();

// Structure to store the EMS intensity data
typedef struct {
    long PWM_PERIOD;
    long PWM_ON_TIME;
    long PWM_INTERVAL;
    long PWM_DURATION;
    long CHAN0_PLAYBACK;
    long CHAN0_INDUCTOR;
    long PWM23_DURATION;
    long PWM23_ON_DURATION;
    long CHAN0_DURATION;
    long CHAN0_ON_DURATION;
    
} ems_values;

extern ems_values ems_intensity_data; // Declare a global instance
extern uint64_t CHAN23_PWM_DEFAULT_PERIOD_NS ;
extern uint64_t CHAN23_PWM_DEFAULT_ON_TIME_NS ;
extern bool is_pwm_modes_enabled;
extern bool battery_update_ready;

#endif
```
